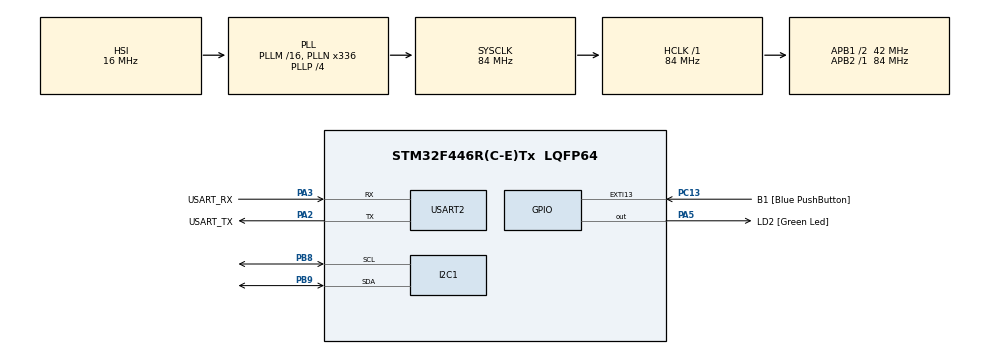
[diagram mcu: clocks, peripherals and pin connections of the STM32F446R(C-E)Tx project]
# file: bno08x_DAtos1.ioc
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Mcu.Family=STM32F4
Mcu.Name=STM32F446R(C-E)Tx
Mcu.Package=LQFP64
NVIC.PriorityGroup=NVIC_PRIORITYGROUP_0
PA13.GPIO_Label=TMS
PA13.Mode=Serial_Wire
PA13.Signal=SYS_JTMS-SWDIO
PA14.GPIO_Label=TCK
PA14.Mode=Serial_Wire
PA14.Signal=SYS_JTCK-SWCLK
PA2.GPIO_Label=USART_TX
PA2.Mode=Asynchronous
PA2.Signal=USART2_TX
PA3.GPIO_Label=USART_RX
PA3.Mode=Asynchronous
PA3.Signal=USART2_RX
PA5.GPIO_Label=LD2 [Green Led]
PA5.Signal=GPIO_Output
PB3.GPIO_Label=SWO
PB3.Signal=SYS_JTDO-SWO
PB8.Mode=I2C
PB8.Signal=I2C1_SCL
PB9.Mode=I2C
PB9.Signal=I2C1_SDA
PC13.GPIO_Label=B1 [Blue PushButton]
PC13.GPIO_ModeDefaultEXTI=GPIO_MODE_IT_FALLING
PC13.Signal=GPXTI13
PC14-OSC32_IN.Mode=LSE-External-Oscillator
PC14-OSC32_IN.Signal=RCC_OSC32_IN
PC15-OSC32_OUT.Mode=LSE-External-Oscillator
PC15-OSC32_OUT.Signal=RCC_OSC32_OUT
PH0-OSC_IN.Mode=HSE-External-Oscillator
PH0-OSC_IN.Signal=RCC_OSC_IN
PH1-OSC_OUT.Mode=HSE-External-Oscillator
PH1-OSC_OUT.Signal=RCC_OSC_OUT
ProjectManager.HeapSize=0x200
ProjectManager.StackSize=0x400
ProjectManager.TargetToolchain=STM32CubeIDE
RCC.48MHZClocksFreq_Value=84000000
RCC.AHBFreq_Value=84000000
RCC.APB1CLKDivider=RCC_HCLK_DIV2
RCC.APB1Freq_Value=42000000
RCC.APB1TimFreq_Value=84000000
RCC.APB2Freq_Value=84000000
RCC.APB2TimFreq_Value=84000000
RCC.CortexFreq_Value=84000000
RCC.FLatency-AdvancedSettings=FLASH_LATENCY_2
RCC.HCLKFreq_Value=84000000
RCC.HSE_VALUE=8000000
RCC.HSI_VALUE=16000000
RCC.PLLN=336
RCC.PLLP=RCC_PLLP_DIV4
RCC.SYSCLKFreq_VALUE=84000000
RCC.SYSCLKSource=RCC_SYSCLKSOURCE_PLLCLK
RCC.USBFreq_Value=168000000
RCC.VCOOutputFreq_Value=336000000
USART2.VirtualMode=VM_ASYNC
board=NUCLEO-F446RE

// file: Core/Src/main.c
/* USER CODE BEGIN Header */
/**
  ******************************************************************************
  * @file           : main.c
  * @brief          : Main program body
  ******************************************************************************
  * @attention
  *
  * Copyright (c) 2026 STMicroelectronics.
  * All rights reserved.
  *
  * This software is licensed under terms that can be found in the LICENSE file
  * in the root directory of this software component.
  * If no LICENSE file comes with this software, it is provided AS-IS.
  *
  ******************************************************************************
  */
/* USER CODE END Header */
#include "main.h"

/* USER CODE BEGIN Includes */
#include "main.h"
#include "bno08x.h"      // tu librería BNO08x modular
#include "bno08x_hal.h"  // hardware específico (I2C, reset, etc.)
#include <stdio.h>
#include <string.h>
/* USER CODE END Includes */

/* USER CODE BEGIN PD */
#define BNO08X_ADDR      (0x4A << 1)   // Dirección I2C del BNO08x
#define BNO08X_REPORT_INTERVAL_US 5000
/* USER CODE END PD */

I2C_HandleTypeDef hi2c1;

UART_HandleTypeDef huart2;

/* USER CODE BEGIN PV */
I2C_HandleTypeDef hi2c1;
UART_HandleTypeDef huart2;
/* USER CODE END PV */

void SystemClock_Config(void);
static void MX_GPIO_Init(void);
static void MX_USART2_UART_Init(void);
static void MX_I2C1_Init(void);
/* USER CODE BEGIN PFP */
void SystemClock_Config(void);
static void MX_GPIO_Init(void);
static void MX_USART2_UART_Init(void);
static void MX_I2C1_Init(void);
/* USER CODE END PFP */

int main(void)
{

  /* MCU Configuration--------------------------------------------------------*/

  /* Reset of all peripherals, Initializes the Flash interface and the Systick. */
  HAL_Init();

  /* Configure the system clock */
  SystemClock_Config();

  /* Initialize all configured peripherals */
  MX_GPIO_Init();
  MX_USART2_UART_Init();
  MX_I2C1_Init();
  /* USER CODE BEGIN 2 */
  i2c_scan();
  // Inicializar BNO08x
  // Inicializar BNO08x
  if (!BNO08X_Init()) {
      char *err = "BNO08x init FAIL\r\n";
      HAL_UART_Transmit(&huart2, (uint8_t*)err, strlen(err), HAL_MAX_DELAY);
      while(1);
  }

  // Reset de hardware (opcional)
  BNO08X_HardwareReset();

  // Activar reporte AR/VR
     if(!BNO08X_EnableSensor(SH2_ARVR_STABILIZED_RV, BNO08X_REPORT_INTERVAL_US)) {
         char *err = "Enable sensor FAIL\r\n";
         HAL_UART_Transmit(&huart2, (uint8_t*)err, strlen(err), HAL_MAX_DELAY);
         while(1);
     }
  sh2_SensorValue_t value;
  sh2_SensorValue_t sensor_value;

  /* USER CODE END 2 */

  /* Infinite loop */
  while (1)
  {

    /* USER CODE BEGIN 3 */

      // Obtener evento del sensor
	  if(BNO08X_GetSensorEvent(&sensor_value))
	          {
	              if(sensor_value.sensorId == SH2_ARVR_STABILIZED_RV)
	              {
	                  char msg[64];
	                  int len = sprintf(msg, "Q: %.3f %.3f %.3f %.3f\r\n",
	                                    sensor_value.un.arvrStabilizedRV.real,
	                                    sensor_value.un.arvrStabilizedRV.i,
	                                    sensor_value.un.arvrStabilizedRV.j,
	                                    sensor_value.un.arvrStabilizedRV.k);
	                  HAL_UART_Transmit(&huart2, (uint8_t*)msg, len, HAL_MAX_DELAY);
	              }
	          }
  }
  /* USER CODE END 3 */
}

void SystemClock_Config(void)
{
  RCC_OscInitTypeDef RCC_OscInitStruct = {0};
  RCC_ClkInitTypeDef RCC_ClkInitStruct = {0};

  /** Configure the main internal regulator output voltage
  */
  __HAL_RCC_PWR_CLK_ENABLE();
  __HAL_PWR_VOLTAGESCALING_CONFIG(PWR_REGULATOR_VOLTAGE_SCALE3);

  /** Initializes the RCC Oscillators according to the specified parameters
  * in the RCC_OscInitTypeDef structure.
  */
  RCC_OscInitStruct.OscillatorType = RCC_OSCILLATORTYPE_HSI;
  RCC_OscInitStruct.HSIState = RCC_HSI_ON;
  RCC_OscInitStruct.HSICalibrationValue = RCC_HSICALIBRATION_DEFAULT;
  RCC_OscInitStruct.PLL.PLLState = RCC_PLL_ON;
  RCC_OscInitStruct.PLL.PLLSource = RCC_PLLSOURCE_HSI;
  RCC_OscInitStruct.PLL.PLLM = 16;
  RCC_OscInitStruct.PLL.PLLN = 336;
  RCC_OscInitStruct.PLL.PLLP = RCC_PLLP_DIV4;
  RCC_OscInitStruct.PLL.PLLQ = 2;
  RCC_OscInitStruct.PLL.PLLR = 2;
  if (HAL_RCC_OscConfig(&RCC_OscInitStruct) != HAL_OK)
  {
    Error_Handler();
  }

  /** Initializes the CPU, AHB and APB buses clocks
  */
  RCC_ClkInitStruct.ClockType = RCC_CLOCKTYPE_HCLK|RCC_CLOCKTYPE_SYSCLK
                              |RCC_CLOCKTYPE_PCLK1|RCC_CLOCKTYPE_PCLK2;
  RCC_ClkInitStruct.SYSCLKSource = RCC_SYSCLKSOURCE_PLLCLK;
  RCC_ClkInitStruct.AHBCLKDivider = RCC_SYSCLK_DIV1;
  RCC_ClkInitStruct.APB1CLKDivider = RCC_HCLK_DIV2;
  RCC_ClkInitStruct.APB2CLKDivider = RCC_HCLK_DIV1;

  if (HAL_RCC_ClockConfig(&RCC_ClkInitStruct, FLASH_LATENCY_2) != HAL_OK)
  {
    Error_Handler();
  }
}

static void MX_I2C1_Init(void)
{

  hi2c1.Instance = I2C1;
  hi2c1.Init.ClockSpeed = 100000;
  hi2c1.Init.DutyCycle = I2C_DUTYCYCLE_2;
  hi2c1.Init.OwnAddress1 = 0;
  hi2c1.Init.AddressingMode = I2C_ADDRESSINGMODE_7BIT;
  hi2c1.Init.DualAddressMode = I2C_DUALADDRESS_DISABLE;
  hi2c1.Init.OwnAddress2 = 0;
  hi2c1.Init.GeneralCallMode = I2C_GENERALCALL_DISABLE;
  hi2c1.Init.NoStretchMode = I2C_NOSTRETCH_DISABLE;
  if (HAL_I2C_Init(&hi2c1) != HAL_OK)
  {
    Error_Handler();
  }

}

static void MX_USART2_UART_Init(void)
{

  huart2.Instance = USART2;
  huart2.Init.BaudRate = 115200;
  huart2.Init.WordLength = UART_WORDLENGTH_8B;
  huart2.Init.StopBits = UART_STOPBITS_1;
  huart2.Init.Parity = UART_PARITY_NONE;
  huart2.Init.Mode = UART_MODE_TX_RX;
  huart2.Init.HwFlowCtl = UART_HWCONTROL_NONE;
  huart2.Init.OverSampling = UART_OVERSAMPLING_16;
  if (HAL_UART_Init(&huart2) != HAL_OK)
  {
    Error_Handler();
  }

}

static void MX_GPIO_Init(void)
{
  GPIO_InitTypeDef GPIO_InitStruct = {0};

  /* GPIO Ports Clock Enable */
  __HAL_RCC_GPIOC_CLK_ENABLE();
  __HAL_RCC_GPIOH_CLK_ENABLE();
  __HAL_RCC_GPIOA_CLK_ENABLE();
  __HAL_RCC_GPIOB_CLK_ENABLE();

  /*Configure GPIO pin Output Level */
  HAL_GPIO_WritePin(LD2_GPIO_Port, LD2_Pin, GPIO_PIN_RESET);

  /*Configure GPIO pin : B1_Pin */
  GPIO_InitStruct.Pin = B1_Pin;
  GPIO_InitStruct.Mode = GPIO_MODE_IT_FALLING;
  GPIO_InitStruct.Pull = GPIO_NOPULL;
  HAL_GPIO_Init(B1_GPIO_Port, &GPIO_InitStruct);

  /*Configure GPIO pin : LD2_Pin */
  GPIO_InitStruct.Pin = LD2_Pin;
  GPIO_InitStruct.Mode = GPIO_MODE_OUTPUT_PP;
  GPIO_InitStruct.Pull = GPIO_NOPULL;
  GPIO_InitStruct.Speed = GPIO_SPEED_FREQ_LOW;
  HAL_GPIO_Init(LD2_GPIO_Port, &GPIO_InitStruct);

}

/* USER CODE BEGIN 4 */
void i2c_scan(void)
{
    char msg[64];
    uint8_t count = 0;

    for (uint8_t addr = 1; addr < 127; addr++)
    {
        if (HAL_I2C_IsDeviceReady(&hi2c1, addr << 1, 2, 10) == HAL_OK)
        {
            int len = sprintf(msg, "I2C device found at 0x%02X\r\n", addr);
            HAL_UART_Transmit(&huart2, (uint8_t*)msg, len, HAL_MAX_DELAY);
            count++;
        }
    }

    if (count == 0)
    {
        char *no = "No I2C devices found\r\n";
        HAL_UART_Transmit(&huart2, (uint8_t*)no, strlen(no), HAL_MAX_DELAY);
    }
}

void bno_ping(void)
{
    uint8_t pkt[] = {0x01, 0x00};   // paquete SH2 vacío mínimo

    if (HAL_I2C_Master_Transmit(&hi2c1, BNO08X_ADDR, pkt, sizeof(pkt), 100) == HAL_OK)
    {
        char *ok = "BNO08x write OK\r\n";
        HAL_UART_Transmit(&huart2, (uint8_t*)ok, strlen(ok), HAL_MAX_DELAY);
    }
    else
    {
        char *er = "BNO08x write FAIL\r\n";
        HAL_UART_Transmit(&huart2, (uint8_t*)er, strlen(er), HAL_MAX_DELAY);
    }
}

void bno_soft_reset(void)
{
    uint8_t cmd[] = {
        0x05, 0x00,   // length = 5 bytes TOTAL
        0x01, 0x00,   // channel, seq
        0x01          // Reset command
    };

    HAL_I2C_Master_Transmit(&hi2c1, BNO08X_ADDR, cmd, sizeof(cmd), 100);
    HAL_Delay(500);
}

void bno_start_sh2(void)
{
    uint8_t cmd[] = {
        0x05, 0x00,
        0x01, 0x00,
        0x01
    };

    HAL_I2C_Master_Transmit(&hi2c1, BNO08X_ADDR, cmd, sizeof(cmd), 100);
    HAL_Delay(200);
}

void bno_host_on(void)
{
    uint8_t cmd[] = {
        0x06, 0x00,   // length = 6 TOTAL
        0x02, 0x00,
        0xF2, 0x01
    };

    HAL_I2C_Master_Transmit(&hi2c1, BNO08X_ADDR, cmd, sizeof(cmd), 100);
    HAL_Delay(200);
}

void bno_enable_accel(void)
{
    uint8_t cmd[] = {
        0x15, 0x00,     // length = 21 TOTAL
        0x02, 0x00,
        0xFD, 0x00,
        0x01, 0x00,     // Accel ID
        0x00, 0x00,
        0xC8, 0x00, 0x00, 0x00,   // 200 ms
        0x00, 0x00, 0x00, 0x00
    };

    HAL_I2C_Master_Transmit(&hi2c1, BNO08X_ADDR, cmd, sizeof(cmd), 100);
}

void bno_read_raw(void)
{
    uint8_t header[4];

    if (HAL_I2C_Master_Receive(&hi2c1, BNO08X_ADDR, header, 4, 100) != HAL_OK)
        return;

    uint16_t len = header[0] | (header[1] << 8);

    if (len < 5 || len > 128) return;

    uint8_t payload[128];
    HAL_I2C_Master_Receive(&hi2c1, BNO08X_ADDR, payload, len - 4, 100);

    printf("BNO PKT: ");
    for (int i = 0; i < len - 4; i++)
        printf("%02X ", payload[i]);
    printf("\r\n");
}

/* USER CODE END 4 */

void Error_Handler(void)
{
  __disable_irq();
  while (1)
  {
  }
}
